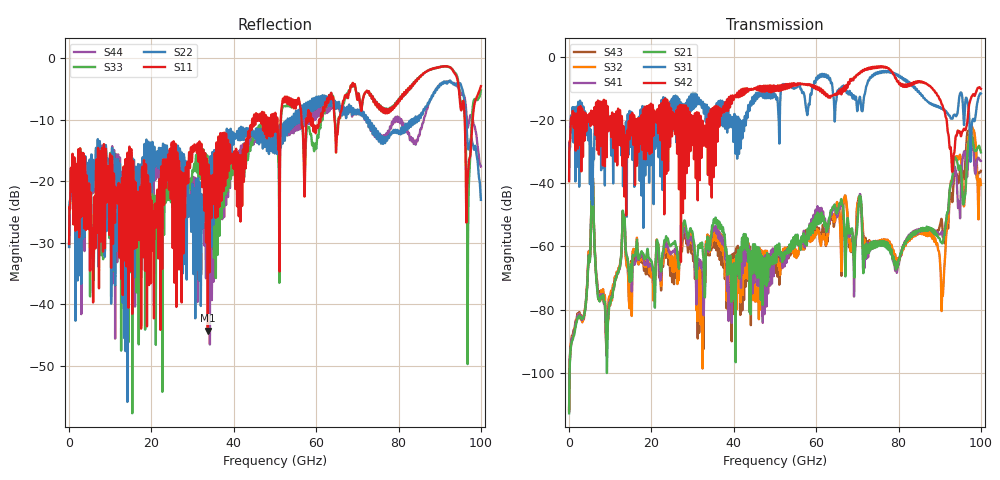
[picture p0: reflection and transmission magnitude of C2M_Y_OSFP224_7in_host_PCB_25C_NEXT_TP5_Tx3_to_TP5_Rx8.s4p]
# GHz S RI R 45
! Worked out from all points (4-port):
!   4000 points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, 25 MHz to 100 GHz, reference 45 ohm
!   strongest paths, dB at 25 MHz, 25.02 GHz, 50.02 GHz, 75.03 GHz, 100 GHz:
!     S42: -39.4, -24.4, -10.8, -3.5, -10.1
!     S31: -38.6, -13.7, -12.1, -4.9, -11.6
!     S21: -112.8, -59.5, -60.6, -59.0, -30.2
!     S41: -112.3, -62.0, -65.3, -59.2, -33.0
!     S32: -111.9, -67.5, -62.9, -58.8, -40.6
!     S43: -111.6, -71.0, -62.2, -58.8, -36.1
!   lowest |S11| = -44.3 dB at 33.7 GHz (marker M1), VSWR 1.01, Z = 45.3 - j0.454 ohm
!   |S11| at or under -10 dB: start of sweep to 44.49 GHz; 59.15 GHz to 60.73 GHz (1.575 GHz wide, 2.63 % of centre); 96.08 GHz to 98 GHz (1.927 GHz wide, 1.99 % of centre)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
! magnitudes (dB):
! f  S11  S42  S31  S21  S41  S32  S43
! 25 MHz  -30.2  -39.4  -38.6  -112.8  -112.3  -111.9  -111.6
! 5.7 GHz  -30.3  -18.7  -33.4  -40.1  -40.1  -40.1  -40.0
! 9.275 GHz  -19.6  -16.7  -18.1  -93.3  -87.6  -83.9  -83.0
! 33.7 GHz  -44.3  -33.4  -21.4  -57.3  -58.6  -57.6  -59.1
! 90.65 GHz  -1.4  -15.2  -16.3  -59.1  -56.4  -75.3  -54.0
! 93.85 GHz  -2.7  -25.5  -18.6  -32.0  -35.7  -31.6  -36.4
! 100 GHz  -4.6  -10.1  -11.6  -30.2  -33.0  -40.6  -36.1
